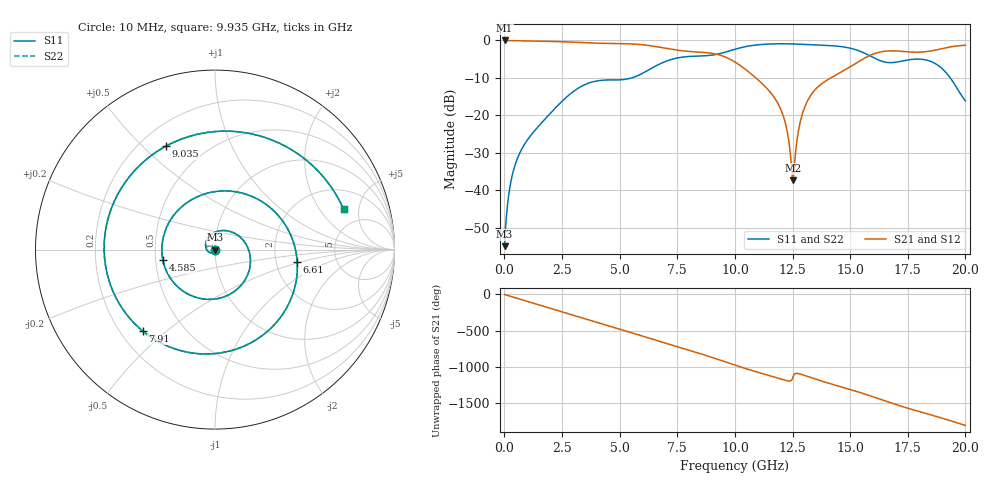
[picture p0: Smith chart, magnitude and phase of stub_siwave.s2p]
! Solver applicability map - 40 x 16 mm symmetric stripline
! Case: stub_siwave
! Sweep: 10 MHz - 20 GHz, 25 MHz step, 4 cores
# GHz S MA R 50.000000
! Terminal data exported
! Port[1] = U1.PAD1.SIG
! Port[2] = U2.PAD1.SIG
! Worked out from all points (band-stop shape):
!   801 points, 10 MHz to 20 GHz, reference 50 ohm
!   highest |S21| = -0.02 dB at 10 MHz (marker M1); lowest = -37.3 dB at 12.51 GHz (marker M2)
!   |S21| within 3 dB of the highest: start of sweep to 8.173 GHz; 18.28 GHz to end of sweep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
!   lowest |S11| = -54.9 dB at 10 MHz (marker M3), VSWR 1.00, Z = 50.2 + j0.0298 ohm
!   |S11| at or under -10 dB: start of sweep to 5.528 GHz; 19.34 GHz to end of sweep
!   |S22| runs from -54.9 to -0.9 dB; largest |S21 - S12| = 0
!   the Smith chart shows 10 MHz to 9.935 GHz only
!   S11 on the Smith chart (normalised r, x): 10 MHz: 1.00, +0.00; 4.585 GHz: 0.55, -0.07; 6.61 GHz: 2.63, -0.45; 7.91 GHz: 0.29, -0.42; 9.035 GHz: 0.30, +0.59; 9.935 GHz: 3.34, +3.44
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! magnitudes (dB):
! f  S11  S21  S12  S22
! 10 MHz  -54.9  0.0  0.0  -54.9
! 185 MHz  -41.4  -0.1  -0.1  -41.4
! 310 MHz  -36.9  -0.1  -0.1  -36.9
! 735 MHz  -29.2  -0.1  -0.1  -29.2
! 2.135 GHz  -18.5  -0.3  -0.3  -18.5
! 3.36 GHz  -12.2  -0.6  -0.6  -12.2
! 4.585 GHz  -10.6  -0.8  -0.8  -10.6
! 6.61 GHz  -6.7  -1.7  -1.7  -6.7
! 6.685 GHz  -6.5  -1.8  -1.8  -6.5
! 7.91 GHz  -4.3  -2.9  -2.9  -4.3
! 9.035 GHz  -3.9  -3.5  -3.5  -3.9
! 9.935 GHz  -2.5  -5.5  -5.5  -2.5
! 10.01 GHz  -2.4  -5.8  -5.8  -2.4
! 11.86 GHz  -0.9  -16.8  -16.8  -0.9
! 12.21 GHz  -0.9  -22.6  -22.6  -0.9
! 12.51 GHz  -0.9  -37.3  -37.3  -0.9
! 12.88 GHz  -1.0  -20.6  -20.6  -1.0
! 13.36 GHz  -1.2  -14.0  -14.0  -1.2
! 15.61 GHz  -3.4  -4.8  -4.8  -3.4
! 16.68 GHz  -5.9  -2.8  -2.8  -5.9
! 18.61 GHz  -5.9  -2.7  -2.7  -5.9
! 20 GHz  -16.2  -1.3  -1.3  -16.2
